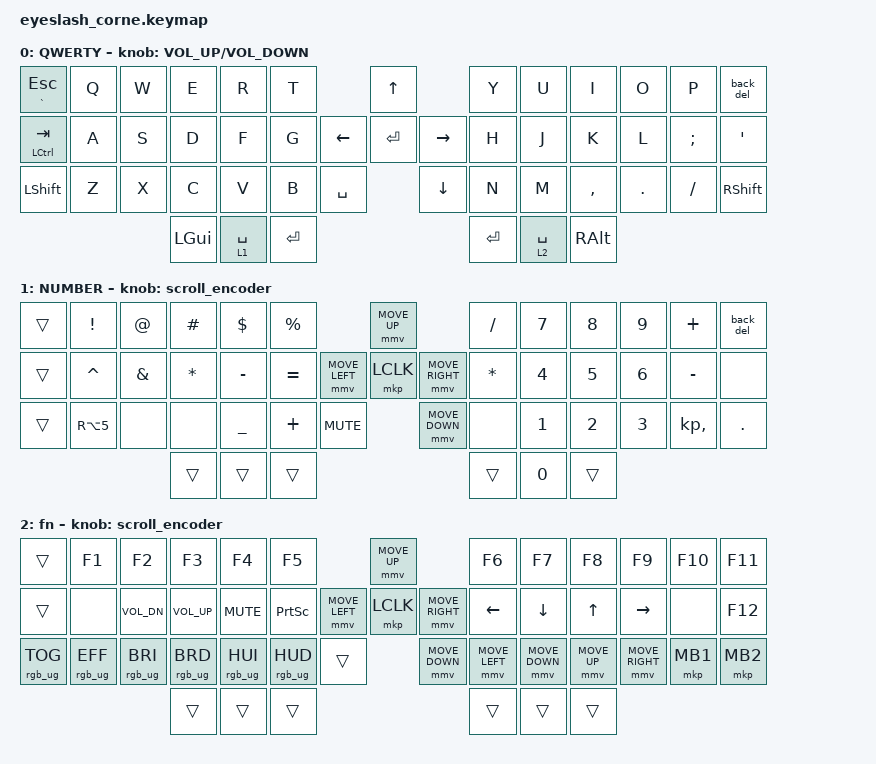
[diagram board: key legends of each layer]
#define ZMK_POINTING_DEFAULT_MOVE_VAL 1200  // 600
#define ZMK_POINTING_DEFAULT_SCRL_VAL 25   // 10

#include <input/processors.dtsi>
#include <zephyr/dt-bindings/input/input-event-codes.h>
#include <behaviors.dtsi>
#include <dt-bindings/zmk/keys.h>
#include <dt-bindings/zmk/pointing.h>
#include <dt-bindings/zmk/rgb.h>

&mmv_input_listener { input-processors = <&zip_xy_scaler 2 1>; };

&msc_input_listener { input-processors = <&zip_scroll_scaler 2 1>; };

&msc {
    acceleration-exponent = <1>;      // 0
    time-to-max-speed-ms = <100>;       // 300
    delay-ms = <0>;                   // 0
};

&mmv {
    time-to-max-speed-ms = <500>;
    acceleration-exponent = <1>;
    trigger-period-ms = <16>;
};

/ {
    behaviors {
        td0: td0 {
            compatible = "zmk,behavior-tap-dance";
            display-name = "Shift/Caps Lock Tap Dance";
            #binding-cells = <0>;
            bindings = <&kp LEFT_SHIFT>, <&kp CAPS>;
        };

        back_del: back_del {
            compatible = "zmk,behavior-mod-morph";
            label = "BACK_DEL";
            bindings = <&kp BACKSPACE>, <&kp DELETE>;

            #binding-cells = <0>;
            mods = <(MOD_RSFT|MOD_LSFT)>;
        };
    };

    rgb_encoder: rgb_encoder {
        compatible = "zmk,behavior-sensor-rotate";
        #sensor-binding-cells = <0>;
        bindings = <&rgb_ug RGB_BRI>, <&rgb_ug RGB_BRD>;
    };

    scroll_encoder: scroll_encoder {
        compatible = "zmk,behavior-sensor-rotate";
        #sensor-binding-cells = <0>;
        bindings = <&msc SCRL_DOWN>, <&msc SCRL_UP>;

        tap-ms = <100>;
    };

    combos {
        compatible = "zmk,combos";

        combo_esc {
            bindings = <&kp ESCAPE>;
            key-positions = <23 24>;
        };

        combo_leftLP {
            bindings = <&kp LEFT_PARENTHESIS>;
            key-positions = <17 18>;
        };

        combo_leftBR {
            bindings = <&kp LEFT_BRACE>;
            key-positions = <32 33>;
        };

        combo_leftBT {
            bindings = <&kp LEFT_BRACKET>;
            key-positions = <4 5>;
        };

        combo_rightPT {
            bindings = <&kp RIGHT_PARENTHESIS>;
            key-positions = <22 23>;
        };

        combo_rightBR {
            bindings = <&kp RIGHT_BRACE>;
            key-positions = <36 37>;
        };

        combo_rightBT {
            bindings = <&kp RIGHT_BRACKET>;
            key-positions = <7 8>;
        };

        combo_backslash {
            bindings = <&kp NON_US_BACKSLASH>;
            key-positions = <40 39>;
        };

        combo_pipe {
            bindings = <&kp PIPE>;
            key-positions = <40 41>;
        };
    };

    keymap {
        compatible = "zmk,keymap";

        default_layer {
            display-name = "QWERTY";
            bindings = <
&mt GRAVE ESCAPE  &kp Q  &kp W  &kp E     &kp R        &kp T                             &kp UP                &kp Y      &kp U        &kp I      &kp O    &kp P     &back_del
&mt LCTRL TAB     &kp A  &kp S  &kp D     &kp F        &kp G                   &kp LEFT  &kp ENTER  &kp RIGHT  &kp H      &kp J        &kp K      &kp L    &kp SEMI  &kp SQT
&kp LEFT_SHIFT    &kp Z  &kp X  &kp C     &kp V        &kp B      &kp SPACE              &kp DOWN              &kp N      &kp M        &kp COMMA  &kp DOT  &kp FSLH  &kp RIGHT_SHIFT
                                &kp LGUI  &lt 1 SPACE  &kp ENTER                                               &kp ENTER  &lt 2 SPACE  &kp RALT
            >;

            sensor-bindings = <&inc_dec_kp C_VOLUME_UP C_VOLUME_DOWN>;
        };

        lower_layer {
            display-name = "NUMBER";
            bindings = <
&trans  &kp EXCLAMATION  &kp AT_SIGN    &kp POUND     &kp DOLLAR      &kp PERCENT                                &mmv MOVE_UP                     &kp SLASH     &kp N7        &kp N8        &kp N9        &kp PLUS      &back_del
&trans  &kp CARET        &kp AMPERSAND  &kp ASTERISK  &kp MINUS       &kp EQUAL                  &mmv MOVE_LEFT  &mkp LCLK       &mmv MOVE_RIGHT  &kp ASTERISK  &kp NUMBER_4  &kp N5        &kp NUMBER_6  &kp MINUS     &none
&trans  &kp RA(N5)       &none          &none         &kp UNDERSCORE  &kp PLUS     &kp C_MUTE                    &mmv MOVE_DOWN                   &none         &kp NUMBER_1  &kp NUMBER_2  &kp NUMBER_3  &kp KP_COMMA  &kp PERIOD
                                        &trans        &trans          &trans                                                                      &trans        &kp N0        &trans
            >;

            sensor-bindings = <&scroll_encoder>;
        };

        raise_layer {
            display-name = "fn";
            bindings = <
&trans           &kp F1           &kp F2           &kp F3           &kp F4           &kp F5                                     &mmv MOVE_UP                     &kp F6          &kp F7          &kp F8        &kp F9           &kp F10   &kp F11
&trans           &none            &kp C_VOL_DN     &kp C_VOLUME_UP  &kp K_MUTE       &kp PRINTSCREEN            &mmv MOVE_LEFT  &mkp LCLK       &mmv MOVE_RIGHT  &kp LEFT        &kp DOWN        &kp UP_ARROW  &kp RIGHT        &none     &kp F12
&rgb_ug RGB_TOG  &rgb_ug RGB_EFF  &rgb_ug RGB_BRI  &rgb_ug RGB_BRD  &rgb_ug RGB_HUI  &rgb_ug RGB_HUD  &trans                    &mmv MOVE_DOWN                   &mmv MOVE_LEFT  &mmv MOVE_DOWN  &mmv MOVE_UP  &mmv MOVE_RIGHT  &mkp MB1  &mkp MB2
                                                   &trans           &trans           &trans                                                                      &trans          &trans          &trans
            >;

            sensor-bindings = <&scroll_encoder>;
        };
    };
};
